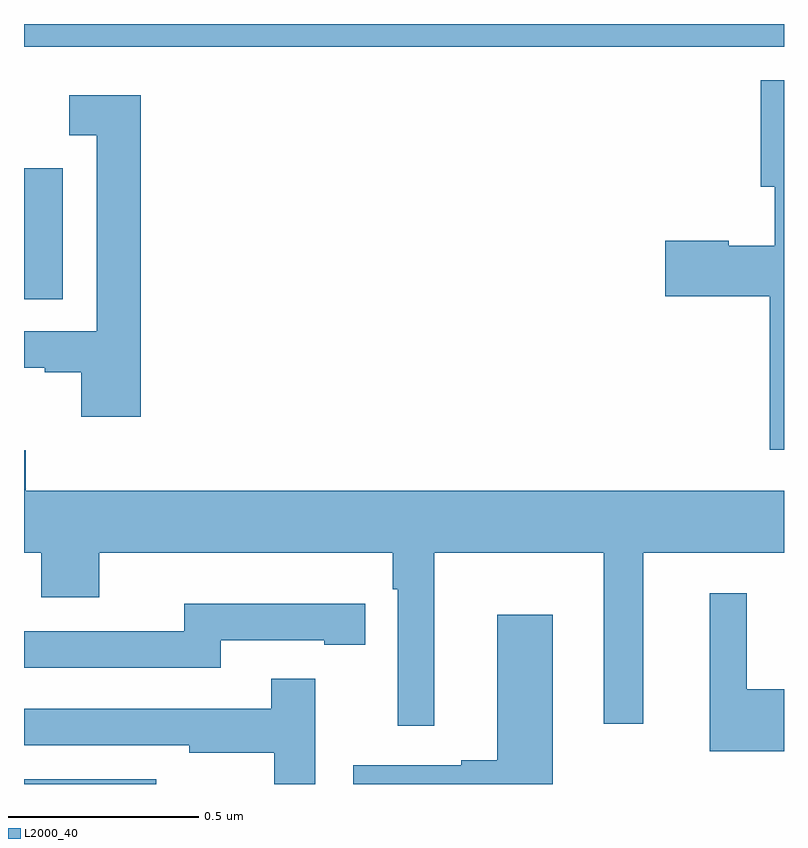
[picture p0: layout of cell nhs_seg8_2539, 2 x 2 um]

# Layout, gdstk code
import gdstk
lib = gdstk.Library(unit=1e-6, precision=1e-09)
def R(c, l, rs):  # rectangles x0, y0, x1, y1
    for r in rs: c.add(gdstk.rectangle(r[:2], r[2:], *l))
def P(c, l, *ps):  # polygons
    for p in ps: c.add(gdstk.Polygon(p, *l))
L2000_40 = (2000, 40)

nhs_seg8_2539 = lib.new_cell('nhs_seg8_2539')
R(nhs_seg8_2539, L2000_40, [(145,1107.9,145.348,1107.913), (145,1109.176,145.102,1109.52), (145,1109.84,147,1109.9)])
P(nhs_seg8_2539, L2000_40, [(147,1109.752),(146.939,1109.752),(146.939,1109.472),(146.975,1109.472),(146.975,1109.317),(146.855,1109.317),(146.855,1109.33),(146.688,1109.33),(146.688,1109.183),(146.963,1109.183),(146.963,1108.779),(147,1108.779)],
  [(145.307,1109.713),(145.119,1109.713),(145.119,1109.607),(145.191,1109.607),(145.191,1109.091),(145,1109.091),(145,1108.995),(145.055,1108.995),(145.055,1108.983),(145.151,1108.983),(145.151,1108.866),(145.307,1108.866)],
  [(146.08,1108.508),(146.525,1108.508),(146.525,1108.059),(146.629,1108.059),(146.629,1108.508),(147,1108.508),(147,1108.672),(145.004,1108.672),(145.004,1108.778),(145,1108.778),(145,1108.508),(145.046,1108.508),(145.046,1108.391),(145.198,1108.391),(145.198,1108.508),(145.97,1108.508),(145.97,1108.412),(145.983,1108.412),(145.983,1108.053),(146.08,1108.053)],
  [(147,1108.15),(146.902,1108.15),(146.902,1108.402),(146.804,1108.402),(146.804,1107.986),(147,1107.986)],
  [(145.518,1108.278),(145.79,1108.278),(145.79,1108.266),(145.898,1108.266),(145.898,1108.374),(145.79,1108.374),(145.79,1108.375),(145.422,1108.375),(145.422,1108.302),(145,1108.302),(145,1108.206),(145.518,1108.206)],
  [(146.392,1108.345),(146.246,1108.345),(146.246,1107.962),(146.15,1107.962),(146.15,1107.949),(145.866,1107.949),(145.866,1107.9),(146.392,1107.9)],
  [(145.767,1108.177),(145.651,1108.177),(145.651,1108.098),(145,1108.098),(145,1108.002),(145.435,1108.002),(145.435,1107.982),(145.659,1107.982),(145.659,1107.9),(145.767,1107.9)])

lib.write_gds('nhs_seg8_2539.gds')
